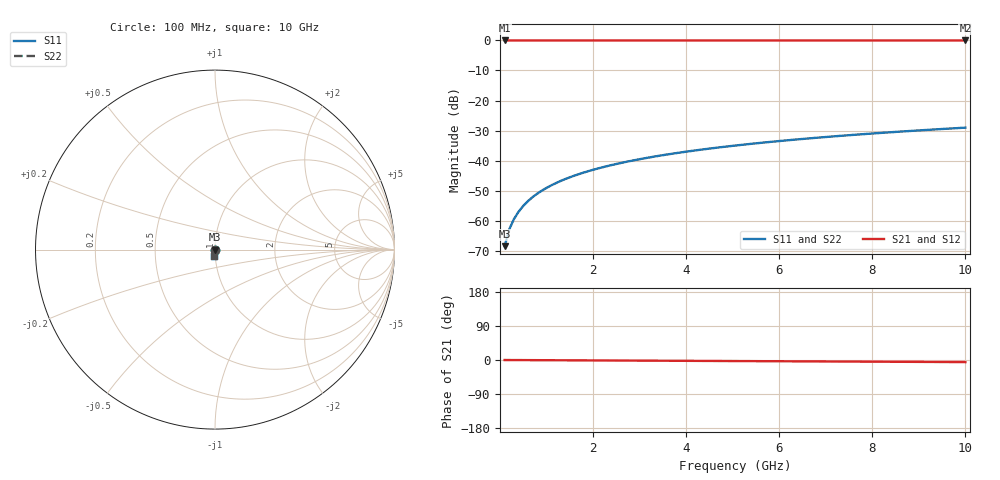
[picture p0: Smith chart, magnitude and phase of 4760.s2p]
# Hz S RI R 50.00
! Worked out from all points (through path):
!   100 points, 100 MHz to 10 GHz, reference 50 ohm
!   highest |S21| = 0.00 dB at 100 MHz (marker M1); lowest = 0.0 dB at 10 GHz (marker M2)
!   lowest |S11| = -68.5 dB at 100 MHz (marker M3), VSWR 1.00, Z = 50 - j0.035 ohm
!   |S11| at or under -10 dB: start of sweep to end of sweep
!   |S22| runs from -68.5 to -29.0 dB; largest |S21 - S12| = 1e-12
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1e8  0.000134 -0.00035  0.9999 -0.000958  0.9999 -0.000958  0.000134 -0.00035
2e8  0.000134 -0.000701  0.9999 -0.00192  0.9999 -0.00192  0.000134 -0.000701
3e8  0.000132 -0.00105  0.9999 -0.00287  0.9999 -0.00287  0.000132 -0.00105
4e8  0.00013 -0.0014  0.9999 -0.00383  0.9999 -0.00383  0.00013 -0.0014
5e8  0.000127 -0.00175  0.9998 -0.00479  0.9998 -0.00479  0.000127 -0.00175
6e8  0.000123 -0.0021  0.9998 -0.00575  0.9998 -0.00575  0.000123 -0.0021
7e8  0.000118 -0.00245  0.9998 -0.00671  0.9998 -0.00671  0.000118 -0.00245
8e8  0.000113 -0.0028  0.9998 -0.00767  0.9998 -0.00767  0.000113 -0.0028
9e8  0.000107 -0.00315  0.9998 -0.00863  0.9998 -0.00863  0.000107 -0.00315
1.1e9  9.27e-05 -0.00386  0.9998 -0.0105  0.9998 -0.0105  9.27e-05 -0.00386
1.4e9  6.64e-05 -0.00491  0.9997 -0.0134  0.9997 -0.0134  6.64e-05 -0.00491
1.8e9  2.18e-05 -0.00631  0.9997 -0.0173  0.9997 -0.0173  2.18e-05 -0.00631
2.1e9  -1.87e-05 -0.00737  0.9996 -0.0201  0.9996 -0.0201  -1.87e-05 -0.00737
2.5e9  -8.24e-05 -0.00877  0.9995 -0.024  0.9995 -0.024  -8.24e-05 -0.00877
2.9e9  -0.000157 -0.0102  0.9994 -0.0278  0.9994 -0.0278  -0.000157 -0.0102
3.4e9  -0.000265 -0.0119  0.9992 -0.0326  0.9992 -0.0326  -0.000265 -0.0119
4.2e9  -0.000475 -0.0148  0.9989 -0.0403  0.9989 -0.0403  -0.000475 -0.0148
5.1e9  -0.000762 -0.0179  0.9985 -0.049  0.9985 -0.049  -0.000762 -0.0179
5.9e9  -0.00106 -0.0207  0.998 -0.0567  0.998 -0.0567  -0.00106 -0.0207
6.7e9  -0.00141 -0.0236  0.9974 -0.0644  0.9974 -0.0644  -0.00141 -0.0236
8.4e9  -0.0023 -0.0295  0.9961 -0.0809  0.9961 -0.0809  -0.0023 -0.0295
1e10  -0.00331 -0.0352  0.9945 -0.0963  0.9945 -0.0963  -0.00331 -0.0352
